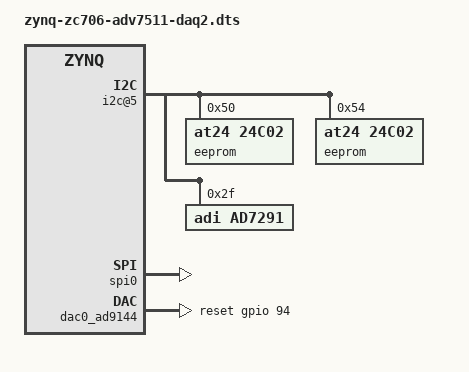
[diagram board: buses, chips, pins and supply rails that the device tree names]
/dts-v1/;

/include/ "zynq-zc706.dtsi"
/include/ "zynq-zc706-adv7511.dtsi"

&i2c_mux {
	i2c@5 { /* HPC IIC */
		#address-cells = <1>;
		#size-cells = <0>;
		reg = <5>;

		eeprom@50 {
			compatible = "at24,24c02";
			reg = <0x50>;
		};

		eeprom@54 {
			compatible = "at24,24c02";
			reg = <0x54>;
		};

		ad7291@2f {
			compatible = "adi,ad7291";
			reg = <0x2f>;
		};
	};
};


&fpga_axi {
	rx_dma: rx-dmac@7c400000 {
		compatible = "adi,axi-dmac-1.00.a";
		reg = <0x7c400000 0x10000>;
		#dma-cells = <1>;
		interrupts = <0 57 0>;
		clocks = <&clkc 16>;

		dma-channel {
			adi,buswidth = <64>;
			adi,type = <0>;
		};
	};

	tx_dma: tx-dmac@7c420000 {
		compatible = "adi,axi-dmac-1.00.a";
		reg = <0x7c420000 0x10000>;
		#dma-cells = <1>;
		interrupts = <0 56 0>;
		clocks = <&clkc 16>;

		dma-channel {
			adi,buswidth = <64>;
			adi,type = <1>;
			adi,cyclic;
		};
	};

	axi_ad9144_core: axi-ad9144-hpc@44a04000 {
		compatible = "adi,axi-ad9144-1.0";
		reg = < 0x44a04000 0x4000 >;
		dmas = <&tx_dma 0>;
		dma-names = "tx";
		spibus-connected = <&dac0_ad9144>;
		xlnx,component-name = "system_axi_ad9144_core_0";
		xlnx,edk-iptype = "PERIPHERAL";
		xlnx,pcore-dac-dp-disable = <0x0>;
		xlnx,pcore-id = <0x0>;
		xlnx,pcore-quad-dual-n = <0x0>;
		xlnx,s-axi-min-size = <0xffff>;
	} ;

	axi_ad9144_jesd: axi-jesd204b-tx@44a90000 {
		#clock-cells = <0>;
		compatible = "xlnx,jesd204-5.1";
		reg = < 0x44a90000 0x1000 >;

		clocks = <&axi_daq2_gt 1>;
		clock-names = "gt_clk";
		clock-output-names = "jesd_clk";

		xlnx,gt-line-rate = "8.0";
		xlnx,gt-refclk-freq = "200.0";

		xlnx,lanes = <0x4>;
		xlnx,frames-per-multiframe = <32>;
		xlnx,bytes-per-frame = <1>;
		xlnx,subclass = <1>;
		xlnx,lanesync-enable;
		xlnx,scramble-enable;

		xlnx,lmfc-buffer-size = <0x6>;
		xlnx,node-is-transmit = <0x1>;
		xlnx,speedgrade = <0xfffffffe>;
		xlnx,supportlevel = <0x0>;
		xlnx,transceiver = "GTXE2";
		xlnx,transceivercontrol = "false";
		xlnx,use-bram = <0x1>;
		xlnx,use-jspat = "false";
		xlnx,use-rpat = "false";
	} ;
	axi_ad9680_core: axi-ad9680-hpc@44a10000 {
		compatible = "adi,axi-ad9680-1.0";
		reg = < 0x44a10000 0x10000 >;
		dmas = <&rx_dma 0>;
		dma-names = "rx";
		spibus-connected = <&adc0_ad9680>;

		xlnx,pcore-device-type = <0x0>;
		xlnx,pcore-id = <0x0>;
		xlnx,pcore-iodelay-group = "adc_if_delay_group";
		xlnx,s-axi-min-size = <0xffff>;
	} ;

	axi_ad9680_jesd: axi-jesd204b-rx@44a91000 {
		#clock-cells = <0>;
		compatible = "xlnx,jesd204-5.1";
		reg = < 0x44a91000 0x1000 >;

		clocks = <&axi_daq2_gt 0>;
		clock-names = "gt_clk";
		clock-output-names = "jesd_clk";

		xlnx,gt-line-rate = "8.0";
		xlnx,gt-refclk-freq = "200.0";

		xlnx,lanes = <0x4>;
		xlnx,frames-per-multiframe = <32>;
		xlnx,bytes-per-frame = <1>;
		xlnx,subclass = <1>;
		xlnx,lanesync-enable;
		xlnx,scramble-enable;

		xlnx,lmfc-buffer-size = <0x6>;
		xlnx,node-is-transmit = <0x0>;
		xlnx,speedgrade = <0xfffffffe>;
		xlnx,supportlevel = <0x0>;
		xlnx,transceiver = "GTXE2";
		xlnx,transceivercontrol = "false";
		xlnx,use-bram = <0x1>;
		xlnx,use-jspat = "false";
		xlnx,use-rpat = "false";
	} ;

	axi_daq2_gt: axi-jesd-gt-rx-tx@44a60000 {
		#clock-cells = <1>;
		compatible = "xlnx,axi-jesd-gt-1.0";
		reg = < 0x44a60000 0x10000 >;

		clocks = <&clk0_ad9523 4>, <&clk0_ad9523 6>, <&clk0_ad9523 7>, <&clk0_ad9523 9>;
		clock-names = "adc_clk", "adc_sysref", "dac_sysref", "dac_clk";
		clock-output-names = "adc_gt_clk", "dac_gt_clk";

		adi,rx-sys-clk-select = <3>;
		adi,rx-out-clk-select = <4>;
		adi,tx-sys-clk-select = <3>;
		adi,tx-out-clk-select = <4>;

		xlnx,pcore-cpll-fbdiv = <0x2>;
		xlnx,pcore-device-type = <0x0>;
		xlnx,pcore-id = <0x0>;
		xlnx,pcore-num-of-lanes = <0x4>;
		xlnx,pcore-pma-rsv = <0x1e7080>;
		xlnx,pcore-qpll-cfg = "000011010000000000110000001";
		xlnx,pcore-qpll-fbdiv = <0x9000>;
		xlnx,pcore-qpll-fbdiv-ratio = <0x1>;
		xlnx,pcore-qpll-refclk-div = <0x1>;
		xlnx,pcore-rx-cdr-cfg = "0x0B000023FF10400020";
		xlnx,pcore-rx-clk25-div = <0x14>;
		xlnx,pcore-rx-out-div = <0x1>;
		xlnx,pcore-tx-clk25-div = <0x14>;
		xlnx,pcore-tx-out-div = <0x1>;
		xlnx,s-axi-min-size = <0xffff>;
	} ;
};

&spi0 {
	status = "okay";
};

#define fmc_spi spi0
 
#include "adi-daq2.dtsi"

&adc0_ad9680 {
	powerdown-gpios = <&gpio 96 0>;
	fastdetect-a-gpios = <&gpio 89 0>;
	fastdetect-b-gpios = <&gpio 90 0>;
};

&dac0_ad9144 {
	txen-gpios = <&gpio 95 0>;
	reset-gpios = <&gpio 94 0>;
	irq-gpios = <&gpio 88 0>;
};

&clk0_ad9523 {
	powerdown-gpios = <&gpio 93 0>;
	sync-gpios = <&gpio 92 0>;
	reset-gpios = <&gpio 91 0>;
	status0-gpios = <&gpio 86 0>;
	status1-gpios = <&gpio 87 0>;
};

